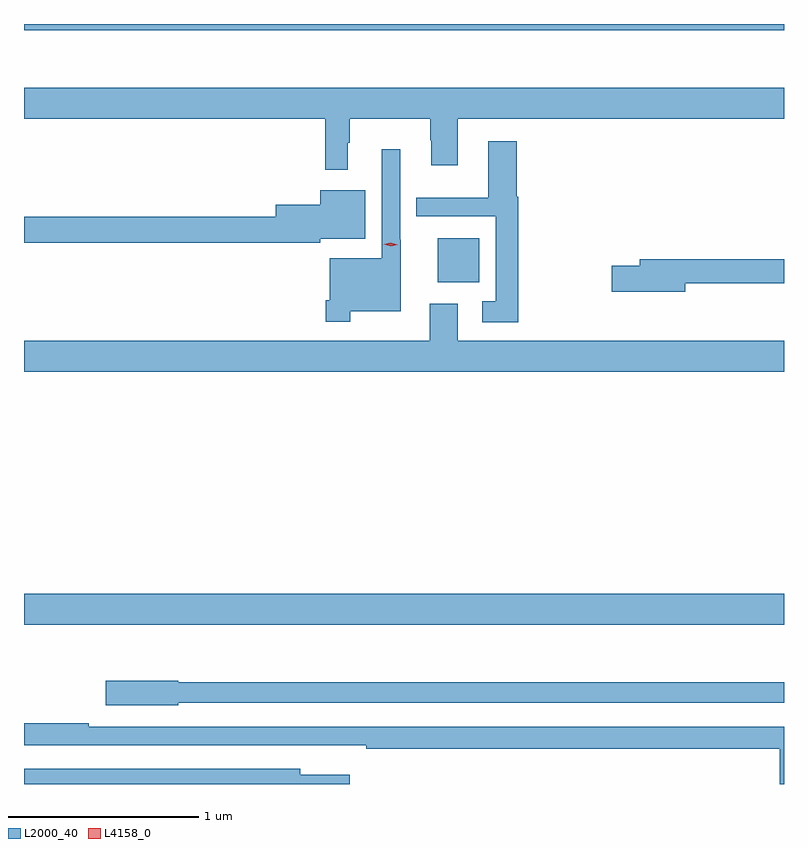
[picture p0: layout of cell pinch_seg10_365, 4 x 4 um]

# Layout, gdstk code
import gdstk
lib = gdstk.Library(unit=1e-6, precision=1e-09)
def R(c, l, rs):  # rectangles x0, y0, x1, y1
    for r in rs: c.add(gdstk.rectangle(r[:2], r[2:], *l))
def P(c, l, *ps):  # polygons
    for p in ps: c.add(gdstk.Polygon(p, *l))
L2000_40 = (2000, 40)
L4158_0 = (4158, 0)

pinch_seg10_365 = lib.new_cell('pinch_seg10_365')
R(pinch_seg10_365, L2000_40, [(539.865,1280.336,543.865,1280.5), (542.042,1282.139,542.26,1282.372), (539.865,1283.466,543.865,1283.499)])
P(pinch_seg10_365, L2000_40, [(541.568,1282.874),(541.579,1282.874),(541.579,1283),(542.002,1283),(542.002,1282.886),(542.009,1282.886),(542.009,1282.755),(542.149,1282.755),(542.149,1283),(543.865,1283),(543.865,1283.164),(539.865,1283.164),(539.865,1283),(541.45,1283),(541.45,1282.731),(541.568,1282.731)],
  [(542.465,1282.591),(542.459,1282.591),(542.459,1282.882),(542.309,1282.882),(542.309,1282.585),(541.93,1282.585),(541.93,1282.488),(542.349,1282.488),(542.349,1282.039),(542.277,1282.039),(542.277,1281.93),(542.465,1281.93)],
  [(541.582,1281.986),(541.847,1281.986),(541.847,1282.363),(541.845,1282.363),(541.845,1282.84),(541.749,1282.84),(541.749,1282.267),(541.473,1282.267),(541.473,1282.045),(541.453,1282.045),(541.453,1281.933),(541.582,1281.933)],
  [(541.425,1282.37),(541.66,1282.37),(541.66,1282.624),(541.424,1282.624),(541.424,1282.549),(541.19,1282.549),(541.19,1282.484),(539.865,1282.484),(539.865,1282.348),(541.425,1282.348)],
  [(543.346,1282.134),(543.865,1282.134),(543.865,1282.262),(543.107,1282.262),(543.107,1282.226),(542.958,1282.226),(542.958,1282.091),(543.346,1282.091)],
  [(543.865,1281.832),(542.149,1281.832),(542.149,1282.027),(542,1282.027),(542,1281.832),(539.865,1281.832),(539.865,1281.668),(543.865,1281.668)],
  [(540.678,1279.926),(543.865,1279.926),(543.865,1280.035),(540.678,1280.035),(540.678,1280.043),(540.294,1280.043),(540.294,1279.913),(540.678,1279.913)],
  [(543.865,1279.8),(540.206,1279.8),(540.206,1279.82),(539.865,1279.82),(539.865,1279.704),(541.414,1279.704),(541.414,1279.703),(541.666,1279.703),(541.666,1279.684),(543.842,1279.684),(543.842,1279.499),(543.865,1279.499)],
  [(541.579,1279.549),(541.318,1279.549),(541.318,1279.578),(539.865,1279.578),(539.865,1279.499),(541.579,1279.499)])
P(pinch_seg10_365, L4158_0, [(541.795,1282.328),(541.759,1282.339),(541.759,1282.339),(541.759,1282.339),(541.796,1282.347),(541.831,1282.336),(541.831,1282.336),(541.831,1282.336)])

lib.write_gds('pinch_seg10_365.gds')
